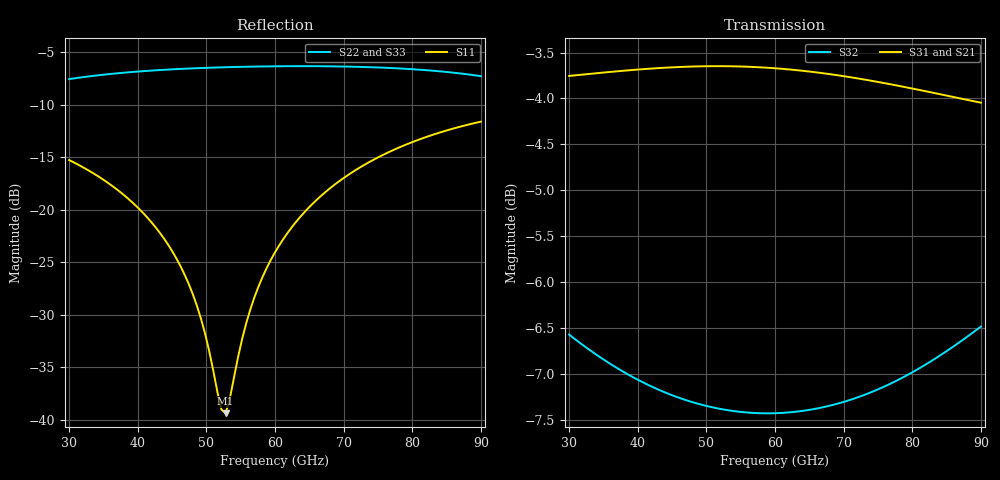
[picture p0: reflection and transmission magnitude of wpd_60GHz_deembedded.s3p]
! Created with skrf 2.0.1 (http://scikit-rf.org).
# GHz S DB R 50.0
!freq dBS11 angS11 dBS12 angS12 dBS13 angS13
! dBS21 angS21 dBS22 angS22 dBS23 angS23
! dBS31 angS31 dBS32 angS32 dBS33 angS33
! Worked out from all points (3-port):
!   101 points, 30 GHz to 90 GHz, reference 50 ohm
!   strongest paths, dB at 30 GHz, 45 GHz, 60 GHz, 75 GHz, 90 GHz:
!     S31: -3.8, -3.7, -3.7, -3.8, -4.0
!     S21: -3.8, -3.7, -3.7, -3.8, -4.0
!     S32: -6.6, -7.2, -7.4, -7.2, -6.5
!   lowest |S11| = -39.4 dB at 52.8 GHz (marker M1), VSWR 1.02, Z = 51.1 + j0.043 ohm
!   |S11| at or under -10 dB: start of sweep to end of sweep
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30  -15.26 131.4  -3.76 -44.8  -3.75 -44.8
    -3.76 -44.8  -7.54 45.6  -6.57 -99.4
    -3.75 -44.8  -6.57 -99.4  -7.54 45.6
39  -19.16 116.0  -3.69 -58.6  -3.69 -58.6
    -3.69 -58.6  -6.87 27.8  -7.02 -125.0
    -3.69 -58.6  -7.02 -125.0  -6.88 27.8
45  -23.92 102.9  -3.66 -67.9  -3.66 -67.9
    -3.66 -67.9  -6.61 17.6  -7.23 -141.6
    -3.66 -67.9  -7.23 -141.6  -6.61 17.6
48.6  -29.10 89.4  -3.65 -73.6  -3.65 -73.6
      -3.65 -73.6  -6.50 11.9  -7.32 -151.5
      -3.65 -73.6  -7.32 -151.5  -6.50 11.9
52.2  -39.04 29.6  -3.65 -79.3  -3.65 -79.3
      -3.65 -79.3  -6.42 6.4  -7.38 -161.3
      -3.65 -79.3  -7.38 -161.3  -6.42 6.3
52.8  -39.39 2.2  -3.65 -80.2  -3.65 -80.3
      -3.65 -80.2  -6.41 5.5  -7.39 -162.9
      -3.65 -80.3  -7.39 -162.9  -6.41 5.4
56.4  -29.50 -66.4  -3.66 -85.9  -3.66 -86.0
      -3.66 -85.9  -6.35 0.1  -7.42 -172.8
      -3.66 -86.0  -7.42 -172.8  -6.35 0.1
60  -24.05 -80.6  -3.67 -91.6  -3.67 -91.7
    -3.67 -91.6  -6.32 -5.2  -7.43 177.4
    -3.67 -91.7  -7.43 177.4  -6.32 -5.3
71.4  -16.35 -103.6  -3.77 -109.6  -3.77 -109.6
      -3.77 -109.6  -6.36 -22.7  -7.27 146.1
      -3.77 -109.6  -7.27 146.1  -6.36 -22.8
90  -11.60 -132.3  -4.04 -137.9  -4.05 -138.0
    -4.04 -137.9  -7.26 -58.7  -6.49 92.7
    -4.05 -138.0  -6.49 92.7  -7.25 -58.7
